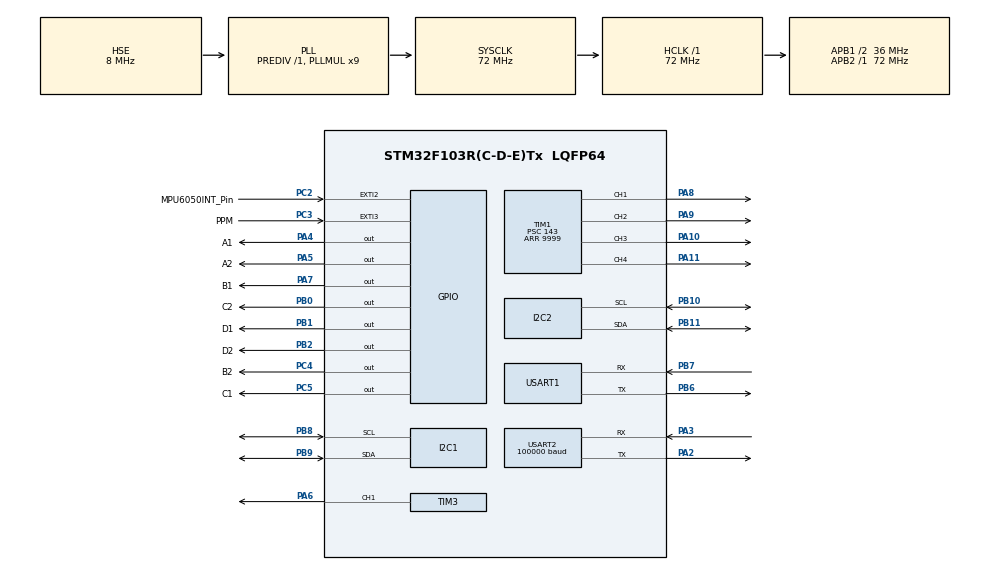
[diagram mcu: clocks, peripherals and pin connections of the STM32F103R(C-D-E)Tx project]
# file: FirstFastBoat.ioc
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Mcu.Family=STM32F1
SH.S_TIM1_CH4.0=TIM1_CH4,PWM Generation4 CH4
PB10.Mode=I2C
USART2.Parity=PARITY_EVEN
NVIC.EXTI3_IRQn=true\:0\:0\:false\:false\:true\:true\:true
PB0.GPIO_Label=C2
PB11.Signal=I2C2_SDA
RCC.SYSCLKSource=RCC_SYSCLKSOURCE_PLLCLK
ProjectManager.StackSize=0x400
PD1-OSC_OUT.Signal=RCC_OSC_OUT
TIM1.Prescaler=143
Dma.USART2_RX.0.Priority=DMA_PRIORITY_LOW
TIM1.Channel-PWM\ Generation4\ CH4=TIM_CHANNEL_4
Dma.USART2_RX.0.PeriphDataAlignment=DMA_PDATAALIGN_BYTE
RCC.HCLKFreq_Value=72000000
RCC.APB2TimFreq_Value=72000000
TIM3.Period=5999
PB6.Signal=USART1_TX
PB6.Mode=Asynchronous
PC3.Signal=GPXTI3
RCC.AHBFreq_Value=72000000
PB2.Signal=GPIO_Output
RCC.PLLMUL=RCC_PLL_MUL9
Dma.USART2_RX.0.MemDataAlignment=DMA_MDATAALIGN_BYTE
PC4.GPIO_Label=B2
TIM1.Channel-PWM\ Generation1\ CH1=TIM_CHANNEL_1
PA14.Mode=Serial_Wire
TIM3.Prescaler=71
PB1.GPIO_Label=D1
NVIC.TIM2_IRQn=true\:0\:0\:false\:false\:true\:true\:true
Dma.USART2_RX.0.Instance=DMA1_Channel6
PB7.Signal=USART1_RX
PA8.Signal=S_TIM1_CH1
SH.S_TIM3_CH1.0=TIM3_CH1,Output Compare1 CH1
VP_TIM1_VS_ClockSourceINT.Mode=Internal
Mcu.Package=LQFP64
PB9.Signal=I2C1_SDA
TIM2.Prescaler=359
PB1.Signal=GPIO_Output
PA6.Signal=S_TIM3_CH1
Dma.USART2_RX.0.PeriphInc=DMA_PINC_DISABLE
USART2.VirtualMode=VM_ASYNC
RCC.EnbaleCSS=true
PA10.Signal=S_TIM1_CH3
USART2.WordLength=WORDLENGTH_9B
NVIC.EXTI2_IRQn=true\:0\:0\:false\:false\:true\:true\:true
RCC.APB1TimFreq_Value=72000000
PC5.Signal=GPIO_Output
TIM1.Period=9999
Dma.Request0=USART2_RX
PA4.GPIO_Label=A1
PC2.GPIO_Label=MPU6050INT_Pin
VP_TIM3_VS_ClockSourceINT.Mode=Internal
PA3.Signal=USART2_RX
RCC.PLLSourceVirtual=RCC_PLLSOURCE_HSE
NVIC.DMA1_Channel6_IRQn=true\:0\:0\:false\:false\:true\:false\:true
PD1-OSC_OUT.Mode=HSE-External-Oscillator
TIM3.AutoReloadPreload=TIM_AUTORELOAD_PRELOAD_DISABLE
PC2.Signal=GPXTI2
PC4.Signal=GPIO_Output
Dma.USART2_RX.0.Direction=DMA_PERIPH_TO_MEMORY
PD0-OSC_IN.Signal=RCC_OSC_IN
RCC.APB1CLKDivider=RCC_HCLK_DIV2
NVIC.USART2_IRQn=true\:0\:0\:false\:false\:true\:true\:true
USART2.BaudRate=100000
Dma.USART2_RX.0.Mode=DMA_NORMAL
PA13.Signal=SYS_JTMS-SWDIO
PA3.Mode=Asynchronous
TIM1.AutoReloadPreload=TIM_AUTORELOAD_PRELOAD_ENABLE
SH.S_TIM1_CH1.0=TIM1_CH1,PWM Generation1 CH1
PB11.Mode=I2C
ProjectManager.TargetToolchain=STM32CubeIDE
PB9.Mode=I2C
PA9.Signal=S_TIM1_CH2
TIM1.Channel-PWM\ Generation2\ CH2=TIM_CHANNEL_2
RCC.USBFreq_Value=72000000
TIM3.Channel-Output\ Compare1\ CH1=TIM_CHANNEL_1
PB10.Signal=I2C2_SCL
PD0-OSC_IN.Mode=HSE-External-Oscillator
PA5.Signal=GPIO_Output
board=custom
RCC.APB2Freq_Value=72000000
USART2.StopBits=STOPBITS_2
SH.S_TIM1_CH2.0=TIM1_CH2,PWM Generation2 CH2
VP_TIM2_VS_ClockSourceINT.Mode=Internal
TIM2.Period=9999
PA13.Mode=Serial_Wire
Mcu.Name=STM32F103R(C-D-E)Tx
Dma.USART2_RX.0.MemInc=DMA_MINC_ENABLE
PA2.Signal=USART2_TX
PA4.Signal=GPIO_Output
RCC.SYSCLKFreq_VALUE=72000000
PA7.GPIO_Label=B1
PA5.GPIO_Label=A2
PC5.GPIO_Label=C1
USART1.VirtualMode=VM_ASYNC
PB7.Mode=Asynchronous
PA11.Signal=S_TIM1_CH4
PA14.Signal=SYS_JTCK-SWCLK
PB2.GPIO_Label=D2
ProjectManager.HeapSize=0x200
SH.S_TIM1_CH3.0=TIM1_CH3,PWM Generation3 CH3
NVIC.PriorityGroup=NVIC_PRIORITYGROUP_4
PB8.Mode=I2C
PA2.Mode=Asynchronous
PB8.Signal=I2C1_SCL
TIM2.AutoReloadPreload=TIM_AUTORELOAD_PRELOAD_ENABLE
PC3.GPIO_Label=PPM
TIM1.Channel-PWM\ Generation3\ CH3=TIM_CHANNEL_3
RCC.APB1Freq_Value=36000000
USART2.Mode=MODE_RX
PB0.Signal=GPIO_Output
PA7.Signal=GPIO_Output

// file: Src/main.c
/* USER CODE BEGIN Header */
/**
  ******************************************************************************
  * @file           : main.c
  * @brief          : Main program body
  ******************************************************************************
  * @attention
  *
  * <h2><center>&copy; Copyright (c) 2021 STMicroelectronics.
  * All rights reserved.</center></h2>
  *
  * This software component is licensed by ST under BSD 3-Clause license,
  * the "License"; You may not use this file except in compliance with the
  * License. You may obtain a copy of the License at:
  *                        opensource.org/licenses/BSD-3-Clause
  *
  ******************************************************************************
  */
/* USER CODE END Header */
#include "main.h"
#include "dma.h"
#include "i2c.h"
#include "tim.h"
#include "usart.h"
#include "gpio.h"

/* USER CODE BEGIN Includes */
#include <board-st_discovery.h>
#include <string.h>
#include <stdio.h>
#include <sbus.h>

/* USER CODE END Includes */

/* USER CODE BEGIN PV */
uint8_t USART2_RX_BUF[USART_REC_LEN]; //接收缓冲,�???????????大USART_REC_LEN个字�???????????.
uint16_t USART2_RX_STA = 0; //接收状�?�标�???????????
uint8_t aRxBuffer1[100],Sbus_flag=0;
HAL_StatusTypeDef status=HAL_ERROR;
SBUS_CH_Struct SBUS_CH;
/* USER CODE END PV */

void SystemClock_Config(void);

int main(void)
{

  /* MCU Configuration--------------------------------------------------------*/

  /* Reset of all peripherals, Initializes the Flash interface and the Systick. */
  HAL_Init();

  /* Configure the system clock */
  SystemClock_Config();

  /* Initialize all configured peripherals */
  MX_GPIO_Init();
  MX_DMA_Init();
  MX_I2C1_Init();
  MX_USART2_UART_Init();
  MX_TIM1_Init();
  MX_TIM2_Init();
  MX_I2C2_Init();
  MX_TIM3_Init();
  MX_USART1_UART_Init();
  /* USER CODE BEGIN 2 */
    uint8_t send[]="Hello";
    HAL_UART_Transmit(&huart1,send,sizeof(send),255);
    //HAL_UART_Transmit(&huart1,send,sizeof(send),255);
    HAL_Delay(1000);
    //__HAL_UART_ENABLE_IT(&huart2, UART_IT_IDLE); //启动串口收完数据后的闲时中断（开了自己不会默认停下）
    //HAL_UART_Receive_DMA(&huart2,aRxBuffer1,100);//打开第一次接�?????
    //HAL_UART_Receive_IT(&huart2,aRxBuffer1,1);
    //TIM1->CCR1 = 0;
    TIM1->CCR2 = 750;//改这�?
    TIM1->CCR3 = 900;
    TIM1->CCR4 = 900;
    TIM3->CCR1=0;
    HAL_GPIO_WritePin(A1_GPIO_Port,A1_Pin,0);
    HAL_GPIO_WritePin(A2_GPIO_Port,A2_Pin,1);//L298N
    HAL_GPIO_WritePin(B1_GPIO_Port,B1_Pin,0);
    HAL_GPIO_WritePin(B2_GPIO_Port,B2_Pin,0);
    HAL_GPIO_WritePin(C1_GPIO_Port,C1_Pin,0);
    HAL_GPIO_WritePin(C2_GPIO_Port,C2_Pin,0);
    HAL_GPIO_WritePin(D1_GPIO_Port,D1_Pin,0);
    HAL_GPIO_WritePin(D2_GPIO_Port,D2_Pin,0);
    //默认占空�?????????????
    //mpu_test();//螺仪初始化，TODO：陀螺仪测试
    uint16_t command = 0, speed = 500;
    //HAL_TIM_PWM_Start(&htim1,TIM_CHANNEL_1);
    HAL_TIM_PWM_Start(&htim1,TIM_CHANNEL_2);
    HAL_TIM_PWM_Start(&htim1,TIM_CHANNEL_3);
    HAL_TIM_PWM_Start(&htim1,TIM_CHANNEL_4);
    HAL_TIM_PWM_Start(&htim3,TIM_CHANNEL_1);
    HAL_Delay(3000);
    for(int i=750;i<850;i++) { TIM1->CCR2 = i;
        HAL_Delay(10);}
  /* USER CODE END 2 */

  /* Infinite loop */
  /* USER CODE BEGIN WHILE */
//    while(1){}
    while (1) {

        if(Sbus_flag)//如果sbus数据得到更新
        {
            Sbus_flag=0;
            if(SBUS_CH.CH3>1500)
            {
                if(SBUS_CH.CH3_Last<1500)
                {
                    TIM1->CCR1=0;
                    TIM1->CCR2=0;
                    TIM1->CCR3=0;
                    TIM1->CCR4=0;
                    HAL_Delay(2000);
                }
                HAL_GPIO_WritePin(A1_GPIO_Port,A1_Pin,1);
                HAL_GPIO_WritePin(A2_GPIO_Port,A2_Pin,1);
                HAL_GPIO_WritePin(B1_GPIO_Port,B1_Pin,0);
                HAL_GPIO_WritePin(B2_GPIO_Port,B2_Pin,1);
                HAL_GPIO_WritePin(C1_GPIO_Port,C1_Pin,0);
                HAL_GPIO_WritePin(C2_GPIO_Port,C2_Pin,1);
                HAL_GPIO_WritePin(D1_GPIO_Port,D1_Pin,0);
                HAL_GPIO_WritePin(D2_GPIO_Port,D2_Pin,1);
                TIM1->CCR1=(SBUS_CH.CH3-1550)/4.5/100*9999;
                TIM1->CCR2=(SBUS_CH.CH3-1550)/4.5/100*9999;
                TIM1->CCR3=(SBUS_CH.CH3-1550)/4.5/100*9999;
                TIM1->CCR4=(SBUS_CH.CH3-1550)/4.5/100*9999;

            }
            else if(SBUS_CH.CH3<1500)
            {
                if(SBUS_CH.CH3_Last>1500)
                {
                    TIM1->CCR1=0;
                    TIM1->CCR2=0;
                    TIM1->CCR3=0;
                    TIM1->CCR4=0;
                    HAL_Delay(2000);
                }

                HAL_GPIO_WritePin(A1_GPIO_Port,A1_Pin,0);
                HAL_GPIO_WritePin(A2_GPIO_Port,A2_Pin,1);
                HAL_GPIO_WritePin(B1_GPIO_Port,B1_Pin,0);
                HAL_GPIO_WritePin(B2_GPIO_Port,B2_Pin,1);
                HAL_GPIO_WritePin(C1_GPIO_Port,C1_Pin,0);
                HAL_GPIO_WritePin(C2_GPIO_Port,C2_Pin,1);
                HAL_GPIO_WritePin(D1_GPIO_Port,D1_Pin,0);
                HAL_GPIO_WritePin(D2_GPIO_Port,D2_Pin,1);
                TIM1->CCR1=(SBUS_CH.CH3-1550)/4.5/100*9999;
                TIM1->CCR2=(SBUS_CH.CH3-1550)/4.5/100*9999;
                TIM1->CCR3=(SBUS_CH.CH3-1550)/4.5/100*9999;
                TIM1->CCR4=(SBUS_CH.CH3-1550)/4.5/100*9999;
            }
            SBUS_CH.CH3_Last=SBUS_CH.CH3;
        }
        if (command != 0)//手动命令,swd修改
            switch (command) {
                case (1)://修改速度占空�???????????????????????
                    HAL_TIM_PWM_Start(&htim1,TIM_CHANNEL_1);
                case (2)://�???????????????????????始尝试下�???????????????????????
                    HAL_TIM_PWM_Start(&htim1,TIM_CHANNEL_1);
                    HAL_TIM_PWM_Start(&htim1,TIM_CHANNEL_2);
                    HAL_TIM_PWM_Start(&htim1,TIM_CHANNEL_3);
                    HAL_TIM_PWM_Start(&htim1,TIM_CHANNEL_4);
                    HAL_Delay(500);
                    HAL_TIM_PWM_Stop(&htim1,TIM_CHANNEL_1);
                    HAL_TIM_PWM_Stop(&htim1,TIM_CHANNEL_2);
                    HAL_TIM_PWM_Stop(&htim1,TIM_CHANNEL_3);
                    HAL_TIM_PWM_Stop(&htim1,TIM_CHANNEL_4);
                    break;

            }

    /* USER CODE END WHILE */

    }
}

void SystemClock_Config(void)
{
  RCC_OscInitTypeDef RCC_OscInitStruct = {0};
  RCC_ClkInitTypeDef RCC_ClkInitStruct = {0};

  /** Initializes the RCC Oscillators according to the specified parameters
  * in the RCC_OscInitTypeDef structure.
  */
  RCC_OscInitStruct.OscillatorType = RCC_OSCILLATORTYPE_HSE;
  RCC_OscInitStruct.HSEState = RCC_HSE_ON;
  RCC_OscInitStruct.HSEPredivValue = RCC_HSE_PREDIV_DIV1;
  RCC_OscInitStruct.HSIState = RCC_HSI_ON;
  RCC_OscInitStruct.PLL.PLLState = RCC_PLL_ON;
  RCC_OscInitStruct.PLL.PLLSource = RCC_PLLSOURCE_HSE;
  RCC_OscInitStruct.PLL.PLLMUL = RCC_PLL_MUL9;
  if (HAL_RCC_OscConfig(&RCC_OscInitStruct) != HAL_OK)
  {
    Error_Handler();
  }
  /** Initializes the CPU, AHB and APB buses clocks
  */
  RCC_ClkInitStruct.ClockType = RCC_CLOCKTYPE_HCLK|RCC_CLOCKTYPE_SYSCLK
                              |RCC_CLOCKTYPE_PCLK1|RCC_CLOCKTYPE_PCLK2;
  RCC_ClkInitStruct.SYSCLKSource = RCC_SYSCLKSOURCE_PLLCLK;
  RCC_ClkInitStruct.AHBCLKDivider = RCC_SYSCLK_DIV1;
  RCC_ClkInitStruct.APB1CLKDivider = RCC_HCLK_DIV2;
  RCC_ClkInitStruct.APB2CLKDivider = RCC_HCLK_DIV1;

  if (HAL_RCC_ClockConfig(&RCC_ClkInitStruct, FLASH_LATENCY_2) != HAL_OK)
  {
    Error_Handler();
  }
  /** Enables the Clock Security System
  */
  HAL_RCC_EnableCSS();
}

/* USER CODE BEGIN 4 */
uint16_t PPM_Sample_Cnt=0;
uint32_t	 PPM_Time=0;
uint16_t PPM_Okay=0;
uint16_t PPM_Databuf[8]={0};
int i=0;

void HAL_GPIO_EXTI_Callback(uint16_t GPIO_Pin) {
    if (GPIO_Pin == MPU6050INT_Pin_Pin) //mpu6050数据就绪
    {
        gyro_data_ready_cb();
    }
/*    else if(GPIO_Pin==PPM_Pin)
    {
        i++;
        PPM_Time += TIM3->CNT;
        printf("%lu",PPM_Time);
        HAL_UART_Transmit(&huart1, (uint8_t *) PPM_Time, sizeof(PPM_Time), 255);
        //HAL_UART_Transmit(&huart1, (uint8_t *) ("Get"), 100, 255);
        TIM3->CNT = 0;				//读取完之后清空，该�?�每1us�?????????????????????1
        if(PPM_Okay==1)
        {
            PPM_Sample_Cnt++;
            PPM_Databuf[PPM_Sample_Cnt-1]=PPM_Time;
            if(PPM_Sample_Cnt>=8)//接收�?????????????????????8通道
                PPM_Okay=0;
        }
        if(PPM_Time>=2050)//确认是下�?????????????????????次数�?????????????????????
        {
            PPM_Okay=1;
            PPM_Sample_Cnt=0;
        }
    }*/
}

void HAL_UART_RxCpltCallback(UART_HandleTypeDef *huart)
{
    int i;
    while(&huart2 == huart)
    {
        USART2_RX_BUF[USART2_RX_STA] = aRxBuffer1[0];
        if (USART2_RX_STA == 0 && USART2_RX_BUF[USART2_RX_STA] != 0x0F)
        {
            HAL_UART_Receive_IT(&huart2,aRxBuffer1,1);
            break; //帧头不对，丢�???????????
        }
        USART2_RX_STA++;
        if (USART2_RX_STA > USART_REC_LEN) USART2_RX_STA = 0;  ///接收数据错误,重新�???????????始接�???????????
        if (USART2_RX_BUF[0] == 0x0F && USART2_RX_BUF[24] == 0x00 && USART2_RX_STA == 25)	//接受完一帧数�???????????
        {
            update_sbus(USART2_RX_BUF);
            memset(&USART2_RX_BUF,0,100);
            /*for (i = 0; i<25; i++)		//清空缓存�???????????
                USART2_RX_BUF[i] = 0;*/
            USART2_RX_STA = 0;
            Sbus_flag=1;
        }
        HAL_UART_Receive_IT(&huart2,aRxBuffer1,1);
        break;
    }
}
/* USER CODE END 4 */

void Error_Handler(void)
{
    __disable_irq();
    while (1) {
    }
}

/************************ (C) COPYRIGHT STMicroelectronics *****END OF FILE****/
